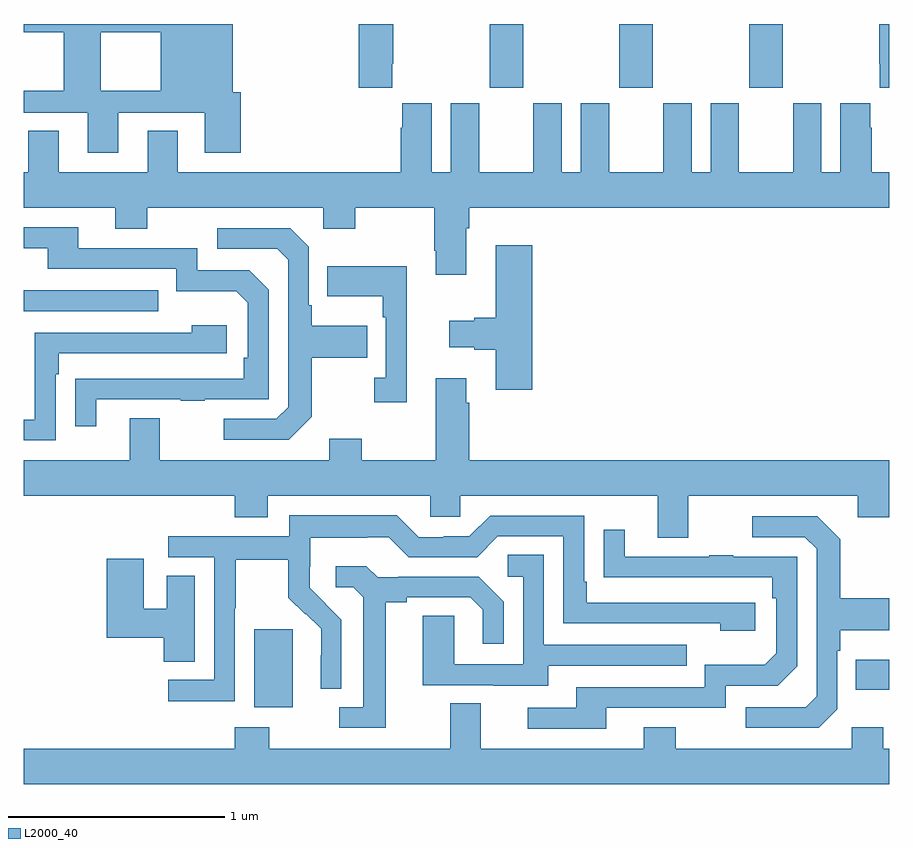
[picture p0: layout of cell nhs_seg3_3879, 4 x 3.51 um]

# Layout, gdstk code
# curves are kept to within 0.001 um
import gdstk
lib = gdstk.Library(unit=1e-6, precision=1e-09)
def R(c, l, rs):  # rectangles x0, y0, x1, y1
    for r in rs: c.add(gdstk.rectangle(r[:2], r[2:], *l))
def A(c, l, x, y, w, h, nx, ny, dx, dy):  # array of equal rectangles
    R(c, l, [(x+i*dx, y+j*dy, x+i*dx+w, y+j*dy+h) for i in range(nx) for j in range(ny)])
def P(c, l, *ps):  # polygons
    for p in ps: c.add(gdstk.Polygon(p, *l))
L2000_40 = (2000, 40)

nhs_seg3_3879 = lib.new_cell('nhs_seg3_3879')
A(nhs_seg3_3879, L2000_40, 313.153, 732.105, 0.155, 0.295, 3, 1, 0.6, 0)
R(nhs_seg3_3879, L2000_40, [(312.065,729.242,312.244,729.603), (314.845,729.323,315,729.463), (311,731.073,311.621,731.169)])
P(nhs_seg3_3879, L2000_40, [(315,732.4),(314.953,732.4),(314.953,732.217),(314.957,732.217),(314.957,732.105),(315,732.105)],
  [(311.437,731.991),(311.837,731.991),(311.837,731.805),(312.002,731.805),(312.002,732.084),(311.965,732.084),(311.965,732.4),(311,732.4),(311,732.362),(311.186,732.362),(311.186,732.092),(311.356,732.092),(311.356,732.362),(311.633,732.362),(311.633,732.092),(311.356,732.092),(311.186,732.092),(311,732.092),(311,731.991),(311.297,731.991),(311.297,731.805),(311.437,731.805)],
  [(312.703,732.217),(312.708,732.217),(312.708,732.4),(312.548,732.4),(312.548,732.105),(312.703,732.105)],
  [(313.045,731.456),(313.058,731.456),(313.058,731.552),(315,731.552),(315,731.716),(314.918,731.716),(314.918,731.921),(314.911,731.921),(314.911,732.034),(314.774,732.034),(314.774,731.716),(314.686,731.716),(314.686,732.034),(314.555,732.034),(314.555,731.716),(314.305,731.716),(314.305,732.034),(314.174,732.034),(314.174,731.716),(314.086,731.716),(314.086,732.034),(313.955,732.034),(313.955,731.716),(313.705,731.716),(313.705,732.034),(313.574,732.034),(313.574,731.716),(313.486,731.716),(313.486,732.034),(313.355,732.034),(313.355,731.716),(313.105,731.716),(313.105,732.034),(312.974,732.034),(312.974,731.716),(312.886,731.716),(312.886,732.034),(312.749,732.034),(312.749,731.921),(312.743,731.921),(312.743,731.716),(311.713,731.716),(311.713,731.906),(311.573,731.906),(311.573,731.716),(311.161,731.716),(311.161,731.906),(311.021,731.906),(311.021,731.716),(311,731.716),(311,731.552),(311.423,731.552),(311.423,731.453),(311.571,731.453),(311.571,731.552),(312.384,731.552),(312.384,731.453),(312.531,731.453),(312.531,731.552),(312.898,731.552),(312.898,731.353),(312.905,731.353),(312.905,731.241),(313.045,731.241)],
  [(311.335,730.665),(311.725,730.665),(311.725,730.66),(311.837,730.66),(311.837,730.665),(312.132,730.665),(312.132,731.172),(312.042,731.262),(311.802,731.262),(311.802,731.364),(311.251,731.364),(311.251,731.46),(311,731.46),(311,731.364),(311.111,731.364),(311.111,731.268),(311.706,731.268),(311.706,731.165),(311.983,731.165),(312.036,731.112),(312.036,730.858),(312.016,730.858),(312.016,730.761),(311.239,730.76),(311.239,730.542),(311.335,730.542)],
  [(312.331,730.585),(312.331,730.858),(312.587,730.858),(312.587,731.005),(312.331,731.005),(312.331,731.101),(312.318,731.101),(312.318,731.37),(312.231,731.457),(311.895,731.457),(311.895,731.361),(312.171,731.361),(312.222,731.31),(312.222,730.629),(312.168,730.575),(311.925,730.575),(311.925,730.479),(312.225,730.479)],
  [(313.349,731.377),(313.181,731.377),(313.181,731.042),(313.082,731.042),(313.082,731.029),(312.966,731.029),(312.966,730.907),(313.082,730.907),(313.082,730.895),(313.181,730.895),(313.181,730.71),(313.349,730.71)],
  [(312.77,731.281),(312.403,731.281),(312.403,731.141),(312.66,731.141),(312.66,731.045),(312.672,731.045),(312.672,730.766),(312.621,730.766),(312.621,730.653),(312.77,730.653)],
  [(311.148,730.781),(311.161,730.781),(311.161,730.878),(311.938,730.878),(311.938,731.008),(311.777,731.008),(311.777,730.974),(311.052,730.974),(311.052,730.572),(311,730.572),(311,730.476),(311.148,730.476)],
  [(311.489,730.579),(311.489,730.384),(311,730.384),(311,730.22),(311.975,730.22),(311.975,730.121),(312.127,730.121),(312.127,730.22),(312.879,730.22),(312.879,730.122),(313.017,730.122),(313.017,730.22),(313.931,730.22),(313.931,730.026),(314.071,730.026),(314.071,730.22),(314.855,730.22),(314.855,730.121),(315,730.121),(315,730.384),(313.058,730.384),(313.058,730.649),(313.045,730.649),(313.045,730.762),(312.905,730.762),(312.905,730.384),(312.561,730.384),(312.561,730.483),(312.413,730.483),(312.413,730.384),(311.629,730.384),(311.629,730.579)],
  [(311.976,729.7),(311.979,729.7),(311.979,729.924),(312.223,729.924),(312.223,729.749),(312.3,729.672),(312.303,729.675),(312.374,729.605),(312.374,729.482),(312.372,729.482),(312.372,729.328),(312.468,729.328),(312.468,729.646),(312.322,729.794),(312.322,729.891),(312.324,729.891),(312.324,730.025),(312.587,730.025),(312.587,730.029),(312.687,730.029),(312.78,729.936),(313.095,729.936),(313.191,730.032),(313.494,730.032),(313.494,729.63),(314.219,729.63),(314.219,729.596),(314.38,729.596),(314.38,729.726),(313.603,729.726),(313.603,729.823),(313.59,729.823),(313.59,730.128),(313.155,730.128),(313.059,730.032),(312.941,730.032),(312.941,730.029),(312.825,730.029),(312.725,730.129),(312.228,730.129),(312.228,730.032),(311.667,730.032),(311.667,729.936),(311.88,729.936),(311.88,729.369),(311.667,729.369),(311.667,729.271),(311.976,729.271)],
  [(314.76,729.234),(314.76,729.503),(314.773,729.503),(314.773,729.599),(315,729.599),(315,729.747),(314.773,729.747),(314.773,730.019),(314.667,730.125),(314.367,730.125),(314.367,730.029),(314.61,730.029),(314.664,729.975),(314.664,729.294),(314.613,729.243),(314.337,729.243),(314.337,729.147),(314.673,729.147)],
  [(313.693,729.24),(314.244,729.24),(314.244,729.342),(314.484,729.342),(314.574,729.432),(314.574,729.939),(314.279,729.939),(314.279,729.944),(314.167,729.944),(314.167,729.939),(313.777,729.939),(313.777,730.063),(313.681,730.063),(313.681,729.844),(314.458,729.843),(314.458,729.746),(314.478,729.746),(314.478,729.492),(314.425,729.439),(314.148,729.439),(314.148,729.336),(313.553,729.336),(313.553,729.24),(313.329,729.24),(313.329,729.144),(313.693,729.144)],
  [(313.423,729.435),(314.063,729.435),(314.063,729.531),(313.404,729.531),(313.404,729.947),(313.236,729.947),(313.236,729.846),(313.308,729.846),(313.308,729.441),(312.99,729.441),(312.99,729.665),(312.845,729.665),(312.845,729.345),(313.169,729.345),(313.169,729.341),(313.423,729.341)],
  [(311.791,729.851),(311.66,729.851),(311.66,729.697),(311.554,729.697),(311.554,729.928),(311.384,729.928),(311.384,729.563),(311.648,729.563),(311.648,729.454),(311.791,729.454)],
  [(312.673,729.728),(312.769,729.728),(312.769,729.75),(313.064,729.75),(313.121,729.693),(313.121,729.537),(313.218,729.537),(313.218,729.73),(313.102,729.846),(312.73,729.846),(312.73,729.843),(312.636,729.843),(312.584,729.895),(312.441,729.895),(312.441,729.798),(312.522,729.798),(312.569,729.751),(312.569,729.243),(312.459,729.243),(312.459,729.147),(312.673,729.147)],
  [(315,729.052),(314.973,729.052),(314.973,729.151),(314.826,729.151),(314.826,729.052),(314.013,729.052),(314.013,729.151),(313.865,729.151),(313.865,729.052),(313.111,729.052),(313.111,729.26),(312.971,729.26),(312.971,729.052),(312.135,729.052),(312.135,729.151),(311.975,729.151),(311.975,729.052),(311,729.052),(311,728.888),(315,728.888)])

lib.write_gds('nhs_seg3_3879.gds')
